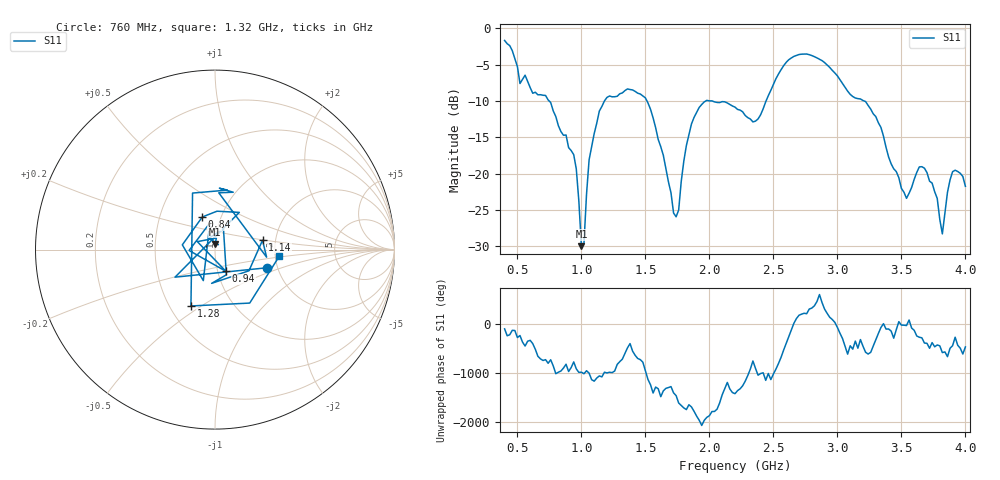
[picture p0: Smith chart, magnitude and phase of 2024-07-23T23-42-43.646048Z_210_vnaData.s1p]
!Created with skrf (http://scikit-rf.org).
# Hz S RI R 50.0
!freq ReS11 ImS11
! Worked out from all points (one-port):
!   181 points, 400 MHz to 4 GHz, reference 50 ohm
!   lowest |S11| = -30.0 dB at 1 GHz (marker M1), VSWR 1.07, Z = 50 + j3.17 ohm
!   |S11| at or under -10 dB: 749.1 MHz to 1.179 GHz (430.3 MHz wide, 44.6 % of centre); 1.513 GHz to 1.97 GHz (457.2 MHz wide, 26.3 % of centre); 3.212 GHz to end of sweep (the widest 3 of 4)
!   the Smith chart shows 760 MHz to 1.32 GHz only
!   S11 on the Smith chart (normalised r, x): 760 MHz: 1.77, -0.40; 840 MHz: 0.82, +0.31; 940 MHz: 1.09, -0.27; 1.14 GHz: 1.71, +0.19; 1.28 GHz: 0.64, -0.45; 1.32 GHz: 2.11, -0.18
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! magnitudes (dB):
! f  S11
! 400 MHz  -1.6
! 520 MHz  -7.6
! 760 MHz  -10.2
! 840 MHz  -14.2
! 860 MHz  -14.7
! 940 MHz  -17.4
! 1 GHz  -30.0
! 1.02 GHz  -29.6
! 1.06 GHz  -18.1
! 1.14 GHz  -11.4
! 1.28 GHz  -9.3
! 1.3 GHz  -9.0
! 1.32 GHz  -8.9
! 1.52 GHz  -10.2
! 1.72 GHz  -25.4
! 1.76 GHz  -25.0
! 1.82 GHz  -16.1
! 1.92 GHz  -10.9
! 2.2 GHz  -10.8
! 2.38 GHz  -12.5
! 2.66 GHz  -3.8
! 3.1 GHz  -9.1
! 3.3 GHz  -12.1
! 3.56 GHz  -22.7
! 3.68 GHz  -19.2
! 3.82 GHz  -28.3
! 3.9 GHz  -19.7
! 4 GHz  -21.7
